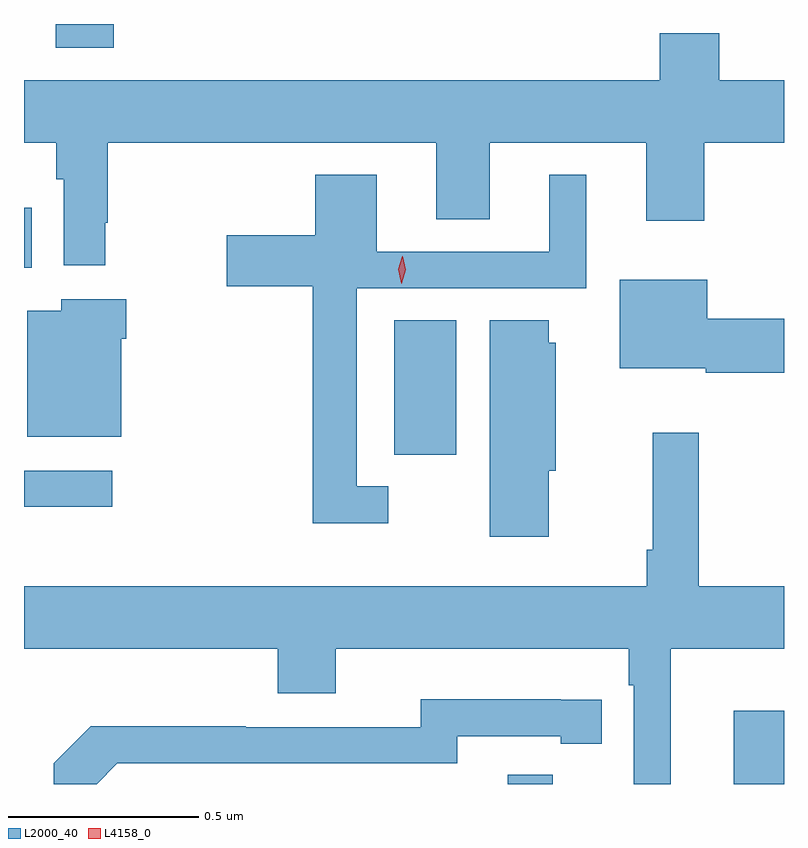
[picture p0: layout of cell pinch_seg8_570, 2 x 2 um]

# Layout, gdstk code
import gdstk
lib = gdstk.Library(unit=1e-6, precision=1e-09)
def R(c, l, rs):  # rectangles x0, y0, x1, y1
    for r in rs: c.add(gdstk.rectangle(r[:2], r[2:], *l))
def P(c, l, *ps):  # polygons
    for p in ps: c.add(gdstk.Polygon(p, *l))
L2000_40 = (2000, 40)
L4158_0 = (4158, 0)

pinch_seg8_570 = lib.new_cell('pinch_seg8_570')
R(pinch_seg8_570, L2000_40, [(170.515,1113.48,170.633,1113.505), (171.11,1113.48,171.242,1113.673), (169.242,1114.209,169.474,1114.305), (170.216,1114.347,170.38,1114.7), (169.242,1114.838,169.262,1114.996), (169.325,1115.418,169.478,1115.48)])
P(pinch_seg8_570, L2000_40, [(169.456,1114.957),(169.463,1114.957),(169.463,1115.168),(170.327,1115.168),(170.327,1114.966),(170.467,1114.966),(170.467,1115.168),(170.879,1115.168),(170.879,1114.962),(171.032,1114.962),(171.032,1115.168),(171.242,1115.168),(171.242,1115.332),(171.071,1115.332),(171.071,1115.456),(170.915,1115.456),(170.915,1115.332),(169.242,1115.332),(169.242,1115.168),(169.327,1115.168),(169.327,1115.072),(169.347,1115.072),(169.347,1114.845),(169.456,1114.845)],
  [(170.2,1114.263),(170.118,1114.263),(170.118,1114.785),(170.722,1114.785),(170.722,1115.083),(170.624,1115.083),(170.624,1114.881),(170.17,1114.881),(170.17,1115.083),(170.009,1115.083),(170.009,1114.924),(169.776,1114.924),(169.776,1114.79),(170.002,1114.79),(170.002,1114.166),(170.2,1114.166)],
  [(171.242,1114.704),(171.04,1114.704),(171.04,1114.807),(170.81,1114.807),(170.81,1114.574),(171.036,1114.574),(171.036,1114.562),(171.242,1114.562)],
  [(169.498,1114.652),(169.511,1114.652),(169.511,1114.756),(169.34,1114.756),(169.34,1114.726),(169.25,1114.726),(169.25,1114.394),(169.498,1114.394)],
  [(170.623,1114.305),(170.641,1114.305),(170.641,1114.641),(170.623,1114.641),(170.623,1114.7),(170.468,1114.7),(170.468,1114.131),(170.623,1114.131)],
  [(170.944,1113.836),(171.242,1113.836),(171.242,1114),(171.017,1114),(171.017,1114.405),(170.896,1114.405),(170.896,1114.096),(170.881,1114.096),(170.881,1114),(169.242,1114),(169.242,1113.836),(169.91,1113.836),(169.91,1113.719),(170.062,1113.719),(170.062,1113.836),(170.834,1113.836),(170.834,1113.74),(170.847,1113.74),(170.847,1113.48),(170.944,1113.48)],
  [(169.488,1113.534),(170.382,1113.534),(170.382,1113.606),(170.654,1113.606),(170.654,1113.586),(170.762,1113.586),(170.762,1113.702),(170.654,1113.702),(170.654,1113.703),(170.286,1113.703),(170.286,1113.63),(169.826,1113.63),(169.826,1113.632),(169.418,1113.632),(169.32,1113.534),(169.32,1113.48),(169.434,1113.48)])
P(pinch_seg8_570, L4158_0, [(170.236,1114.797),(170.235,1114.798),(170.227,1114.834),(170.238,1114.869),(170.239,1114.869),(170.239,1114.869),(170.247,1114.833),(170.236,1114.798)])

lib.write_gds('pinch_seg8_570.gds')
